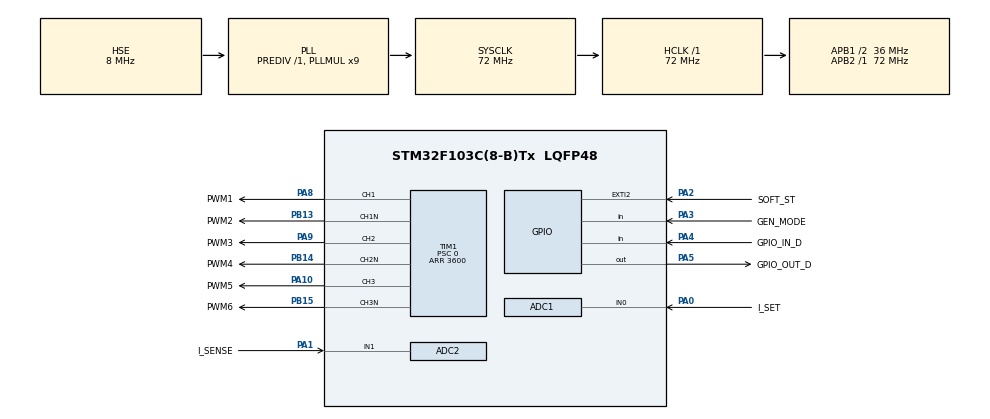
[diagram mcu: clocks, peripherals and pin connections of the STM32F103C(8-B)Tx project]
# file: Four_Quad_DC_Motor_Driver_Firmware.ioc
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ADC1.Channel-1\#ChannelRegularConversion=ADC_CHANNEL_0
ADC1.ContinuousConvMode=DISABLE
ADC1.EnableRegularConversion=ENABLE
ADC1.NbrOfConversionFlag=1
ADC1.Rank-1\#ChannelRegularConversion=1
ADC1.SamplingTime-1\#ChannelRegularConversion=ADC_SAMPLETIME_239CYCLES_5
ADC1.master=1
ADC2.Channel-5\#ChannelRegularConversion=ADC_CHANNEL_1
ADC2.NbrOfConversionFlag=1
ADC2.Rank-5\#ChannelRegularConversion=1
ADC2.SamplingTime-5\#ChannelRegularConversion=ADC_SAMPLETIME_1CYCLE_5
Dma.ADC1.0.Direction=DMA_PERIPH_TO_MEMORY
Dma.ADC1.0.Instance=DMA1_Channel1
Dma.ADC1.0.MemDataAlignment=DMA_MDATAALIGN_HALFWORD
Dma.ADC1.0.MemInc=DMA_MINC_ENABLE
Dma.ADC1.0.Mode=DMA_CIRCULAR
Dma.ADC1.0.PeriphDataAlignment=DMA_PDATAALIGN_HALFWORD
Dma.ADC1.0.PeriphInc=DMA_PINC_DISABLE
Dma.ADC1.0.Priority=DMA_PRIORITY_LOW
Dma.Request0=ADC1
Mcu.Family=STM32F1
Mcu.Name=STM32F103C(8-B)Tx
Mcu.Package=LQFP48
NVIC.ADC1_2_IRQn=true\:0\:0\:false\:false\:true\:true\:true\:true
NVIC.DMA1_Channel1_IRQn=true\:0\:0\:false\:false\:true\:false\:true\:true
NVIC.EXTI2_IRQn=true\:0\:0\:false\:false\:true\:true\:true\:true
NVIC.PriorityGroup=NVIC_PRIORITYGROUP_4
NVIC.TIM4_IRQn=true\:0\:0\:false\:false\:true\:true\:true\:true
PA0-WKUP.GPIO_Label=I_SET
PA0-WKUP.Signal=ADCx_IN0
PA1.GPIO_Label=I_SENSE
PA1.Signal=ADCx_IN1
PA10.GPIO_Label=PWM5
PA10.Signal=S_TIM1_CH3
PA13.Mode=Serial_Wire
PA13.Signal=SYS_JTMS-SWDIO
PA14.Mode=Serial_Wire
PA14.Signal=SYS_JTCK-SWCLK
PA2.GPIO_Label=SOFT_ST
PA2.GPIO_ModeDefaultEXTI=GPIO_MODE_IT_RISING
PA2.GPIO_PuPd=GPIO_PULLDOWN
PA2.Signal=GPXTI2
PA3.GPIO_Label=GEN_MODE
PA3.GPIO_PuPd=GPIO_PULLDOWN
PA3.Signal=GPIO_Input
PA4.GPIO_Label=GPIO_IN_D
PA4.GPIO_PuPd=GPIO_PULLDOWN
PA4.Signal=GPIO_Input
PA5.GPIO_Label=GPIO_OUT_D
PA5.Signal=GPIO_Output
PA8.GPIO_Label=PWM1
PA8.Signal=S_TIM1_CH1
PA9.GPIO_Label=PWM3
PA9.Signal=S_TIM1_CH2
PB13.GPIO_Label=PWM2
PB13.Mode=PWM Generation1 CH1 CH1N
PB13.Signal=TIM1_CH1N
PB14.GPIO_Label=PWM4
PB14.Mode=PWM Generation2 CH2 CH2N
PB14.Signal=TIM1_CH2N
PB15.GPIO_Label=PWM6
PB15.Mode=PWM Generation3 CH3 CH3N
PB15.Signal=TIM1_CH3N
PD0-OSC_IN.Mode=HSE-External-Oscillator
PD0-OSC_IN.Signal=RCC_OSC_IN
PD1-OSC_OUT.Mode=HSE-External-Oscillator
PD1-OSC_OUT.Signal=RCC_OSC_OUT
ProjectManager.HeapSize=0x200
ProjectManager.StackSize=0x400
ProjectManager.TargetToolchain=STM32CubeIDE
RCC.ADCPresc=RCC_ADCPCLK2_DIV6
RCC.AHBFreq_Value=72000000
RCC.APB1CLKDivider=RCC_HCLK_DIV2
RCC.APB1Freq_Value=36000000
RCC.APB1TimFreq_Value=72000000
RCC.APB2Freq_Value=72000000
RCC.APB2TimFreq_Value=72000000
RCC.EnbaleCSS=true
RCC.HCLKFreq_Value=72000000
RCC.PLLMUL=RCC_PLL_MUL9
RCC.PLLSourceVirtual=RCC_PLLSOURCE_HSE
RCC.SYSCLKFreq_VALUE=72000000
RCC.SYSCLKSource=RCC_SYSCLKSOURCE_PLLCLK
RCC.USBFreq_Value=72000000
SH.ADCx_IN0.0=ADC1_IN0,IN0
SH.ADCx_IN1.0=ADC2_IN1,IN1
SH.S_TIM1_CH1.0=TIM1_CH1,PWM Generation1 CH1 CH1N
SH.S_TIM1_CH2.0=TIM1_CH2,PWM Generation2 CH2 CH2N
SH.S_TIM1_CH3.0=TIM1_CH3,PWM Generation3 CH3 CH3N
TIM1.AutoReloadPreload=TIM_AUTORELOAD_PRELOAD_ENABLE
TIM1.Channel-PWM\ Generation1\ CH1\ CH1N=TIM_CHANNEL_1
TIM1.Channel-PWM\ Generation2\ CH2\ CH2N=TIM_CHANNEL_2
TIM1.Channel-PWM\ Generation3\ CH3\ CH3N=TIM_CHANNEL_3
TIM1.CounterMode=TIM_COUNTERMODE_CENTERALIGNED1
TIM1.DeadTime=100
TIM1.Period=3600
TIM1.Prescaler=0
TIM1.Pulse-PWM\ Generation1\ CH1\ CH1N=0
TIM1.Pulse-PWM\ Generation2\ CH2\ CH2N=0
TIM4.Period=1000
VP_TIM1_VS_ClockSourceINT.Mode=Internal
VP_TIM4_VS_ClockSourceINT.Mode=Internal
board=custom

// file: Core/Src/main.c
/* USER CODE BEGIN Header */
/**
  ******************************************************************************
  * @file           : main.c
  * @brief          : Main program body
  ******************************************************************************
  * @attention
  *
  * Copyright (c) 2022 STMicroelectronics.
  * All rights reserved.
  *
  * This software is licensed under terms that can be found in the LICENSE file
  * in the root directory of this software component.
  * If no LICENSE file comes with this software, it is provided AS-IS.
  *
  ******************************************************************************
  */
/* USER CODE END Header */
#include "main.h"

ADC_HandleTypeDef hadc1;
ADC_HandleTypeDef hadc2;
DMA_HandleTypeDef hdma_adc1;

TIM_HandleTypeDef htim1;
TIM_HandleTypeDef htim4;

/* USER CODE BEGIN PV */

// Define PID parameters
uint32_t Kp = 50;
uint32_t Kd = 0;
uint32_t Ki = 0;
float delta_t = 1/72000; // Control loop period, must be equal to TIM4 interrupt frequency (72KHz)

// Define the variables to store input values
float I_sense = 0;	// Measured armature current
float I_set = 0;  // Set value for armature current
float I_set_av = 0; // Set value moving average
float I_set_temp = 0; // Defined for calculation purposes
uint32_t Gen_mode = 0; // Generator mode boolean (active low)
uint32_t Soft_st = 0;  // Latching soft start
uint32_t Soft_st_done = 0; // Enable if the motor is already started
uint32_t forward = 1;  // 1 for forward motoring, 0 for reverse motoring

// Define duty variable
uint32_t duty = 0; // will be written to TIM1->CCR1 & TIM1->CCR2

// Average Buffers
uint16_t adc_buf_set[ADC_AVE_SAMPLE];
uint16_t adc_buf_sense[ADC_AVE_SAMPLE];

/* USER CODE END PV */

void SystemClock_Config(void);
static void MX_GPIO_Init(void);
static void MX_DMA_Init(void);
static void MX_TIM1_Init(void);
static void MX_ADC1_Init(void);
static void MX_TIM4_Init(void);
static void MX_ADC2_Init(void);
/* USER CODE BEGIN PFP */
uint16_t ADC1_Read();
uint16_t ADC2_Read();
/* USER CODE END PFP */

int main(void)
{

  /* MCU Configuration--------------------------------------------------------*/

  /* Reset of all peripherals, Initializes the Flash interface and the Systick. */
  HAL_Init();

  /* Configure the system clock */
  SystemClock_Config();

  /* Initialize all configured peripherals */
  MX_GPIO_Init();
  MX_DMA_Init();
  MX_TIM1_Init();
  MX_ADC1_Init();
  MX_TIM4_Init();
  MX_ADC2_Init();
  /* USER CODE BEGIN 2 */
  HAL_TIM_Base_Start_IT(&htim4);

  for(int j=0;j<ADC_AVE_SAMPLE;j++){
  	adc_buf_set[j] = 2048;
  	adc_buf_sense[j] =2048;
  }

  HAL_Delay(1000); // Wait a second

  // HAL_TIM_Base_Start_IT(&htim1);
  HAL_TIM_PWM_Start(&htim1, TIM_CHANNEL_1);
  HAL_TIMEx_PWMN_Start(&htim1, TIM_CHANNEL_1);
  HAL_TIM_PWM_Start(&htim1, TIM_CHANNEL_2);
  HAL_TIMEx_PWMN_Start(&htim1, TIM_CHANNEL_2);
  HAL_TIM_PWM_Start(&htim1, TIM_CHANNEL_3);
  HAL_TIMEx_PWMN_Start(&htim1, TIM_CHANNEL_3);

  /* USER CODE END 2 */

  /* Infinite loop */
  while (1)
  {

  }
}

void SystemClock_Config(void)
{
  RCC_OscInitTypeDef RCC_OscInitStruct = {0};
  RCC_ClkInitTypeDef RCC_ClkInitStruct = {0};
  RCC_PeriphCLKInitTypeDef PeriphClkInit = {0};

  /** Initializes the RCC Oscillators according to the specified parameters
  * in the RCC_OscInitTypeDef structure.
  */
  RCC_OscInitStruct.OscillatorType = RCC_OSCILLATORTYPE_HSE;
  RCC_OscInitStruct.HSEState = RCC_HSE_ON;
  RCC_OscInitStruct.HSEPredivValue = RCC_HSE_PREDIV_DIV1;
  RCC_OscInitStruct.HSIState = RCC_HSI_ON;
  RCC_OscInitStruct.PLL.PLLState = RCC_PLL_ON;
  RCC_OscInitStruct.PLL.PLLSource = RCC_PLLSOURCE_HSE;
  RCC_OscInitStruct.PLL.PLLMUL = RCC_PLL_MUL9;
  if (HAL_RCC_OscConfig(&RCC_OscInitStruct) != HAL_OK)
  {
    Error_Handler();
  }

  /** Initializes the CPU, AHB and APB buses clocks
  */
  RCC_ClkInitStruct.ClockType = RCC_CLOCKTYPE_HCLK|RCC_CLOCKTYPE_SYSCLK
                              |RCC_CLOCKTYPE_PCLK1|RCC_CLOCKTYPE_PCLK2;
  RCC_ClkInitStruct.SYSCLKSource = RCC_SYSCLKSOURCE_PLLCLK;
  RCC_ClkInitStruct.AHBCLKDivider = RCC_SYSCLK_DIV1;
  RCC_ClkInitStruct.APB1CLKDivider = RCC_HCLK_DIV2;
  RCC_ClkInitStruct.APB2CLKDivider = RCC_HCLK_DIV1;

  if (HAL_RCC_ClockConfig(&RCC_ClkInitStruct, FLASH_LATENCY_2) != HAL_OK)
  {
    Error_Handler();
  }
  PeriphClkInit.PeriphClockSelection = RCC_PERIPHCLK_ADC;
  PeriphClkInit.AdcClockSelection = RCC_ADCPCLK2_DIV6;
  if (HAL_RCCEx_PeriphCLKConfig(&PeriphClkInit) != HAL_OK)
  {
    Error_Handler();
  }

  /** Enables the Clock Security System
  */
  HAL_RCC_EnableCSS();
}

static void MX_ADC1_Init(void)
{

  ADC_ChannelConfTypeDef sConfig = {0};

  /** Common config
  */
  hadc1.Instance = ADC1;
  hadc1.Init.ScanConvMode = ADC_SCAN_DISABLE;
  hadc1.Init.ContinuousConvMode = DISABLE;
  hadc1.Init.DiscontinuousConvMode = DISABLE;
  hadc1.Init.ExternalTrigConv = ADC_SOFTWARE_START;
  hadc1.Init.DataAlign = ADC_DATAALIGN_RIGHT;
  hadc1.Init.NbrOfConversion = 1;
  if (HAL_ADC_Init(&hadc1) != HAL_OK)
  {
    Error_Handler();
  }

  /** Configure Regular Channel
  */
  sConfig.Channel = ADC_CHANNEL_0;
  sConfig.Rank = ADC_REGULAR_RANK_1;
  sConfig.SamplingTime = ADC_SAMPLETIME_239CYCLES_5;
  if (HAL_ADC_ConfigChannel(&hadc1, &sConfig) != HAL_OK)
  {
    Error_Handler();
  }

}

static void MX_ADC2_Init(void)
{

  ADC_ChannelConfTypeDef sConfig = {0};

  /** Common config
  */
  hadc2.Instance = ADC2;
  hadc2.Init.ScanConvMode = ADC_SCAN_DISABLE;
  hadc2.Init.ContinuousConvMode = DISABLE;
  hadc2.Init.DiscontinuousConvMode = DISABLE;
  hadc2.Init.ExternalTrigConv = ADC_SOFTWARE_START;
  hadc2.Init.DataAlign = ADC_DATAALIGN_RIGHT;
  hadc2.Init.NbrOfConversion = 1;
  if (HAL_ADC_Init(&hadc2) != HAL_OK)
  {
    Error_Handler();
  }

  /** Configure Regular Channel
  */
  sConfig.Channel = ADC_CHANNEL_1;
  sConfig.Rank = ADC_REGULAR_RANK_1;
  sConfig.SamplingTime = ADC_SAMPLETIME_1CYCLE_5;
  if (HAL_ADC_ConfigChannel(&hadc2, &sConfig) != HAL_OK)
  {
    Error_Handler();
  }

}

static void MX_TIM1_Init(void)
{

  TIM_ClockConfigTypeDef sClockSourceConfig = {0};
  TIM_MasterConfigTypeDef sMasterConfig = {0};
  TIM_OC_InitTypeDef sConfigOC = {0};
  TIM_BreakDeadTimeConfigTypeDef sBreakDeadTimeConfig = {0};

  htim1.Instance = TIM1;
  htim1.Init.Prescaler = 0;
  htim1.Init.CounterMode = TIM_COUNTERMODE_CENTERALIGNED1;
  htim1.Init.Period = 3600;
  htim1.Init.ClockDivision = TIM_CLOCKDIVISION_DIV1;
  htim1.Init.RepetitionCounter = 0;
  htim1.Init.AutoReloadPreload = TIM_AUTORELOAD_PRELOAD_ENABLE;
  if (HAL_TIM_Base_Init(&htim1) != HAL_OK)
  {
    Error_Handler();
  }
  sClockSourceConfig.ClockSource = TIM_CLOCKSOURCE_INTERNAL;
  if (HAL_TIM_ConfigClockSource(&htim1, &sClockSourceConfig) != HAL_OK)
  {
    Error_Handler();
  }
  if (HAL_TIM_PWM_Init(&htim1) != HAL_OK)
  {
    Error_Handler();
  }
  sMasterConfig.MasterOutputTrigger = TIM_TRGO_RESET;
  sMasterConfig.MasterSlaveMode = TIM_MASTERSLAVEMODE_DISABLE;
  if (HAL_TIMEx_MasterConfigSynchronization(&htim1, &sMasterConfig) != HAL_OK)
  {
    Error_Handler();
  }
  sConfigOC.OCMode = TIM_OCMODE_PWM1;
  sConfigOC.Pulse = 0;
  sConfigOC.OCPolarity = TIM_OCPOLARITY_HIGH;
  sConfigOC.OCNPolarity = TIM_OCNPOLARITY_HIGH;
  sConfigOC.OCFastMode = TIM_OCFAST_DISABLE;
  sConfigOC.OCIdleState = TIM_OCIDLESTATE_RESET;
  sConfigOC.OCNIdleState = TIM_OCNIDLESTATE_RESET;
  if (HAL_TIM_PWM_ConfigChannel(&htim1, &sConfigOC, TIM_CHANNEL_1) != HAL_OK)
  {
    Error_Handler();
  }
  if (HAL_TIM_PWM_ConfigChannel(&htim1, &sConfigOC, TIM_CHANNEL_2) != HAL_OK)
  {
    Error_Handler();
  }
  if (HAL_TIM_PWM_ConfigChannel(&htim1, &sConfigOC, TIM_CHANNEL_3) != HAL_OK)
  {
    Error_Handler();
  }
  sBreakDeadTimeConfig.OffStateRunMode = TIM_OSSR_DISABLE;
  sBreakDeadTimeConfig.OffStateIDLEMode = TIM_OSSI_DISABLE;
  sBreakDeadTimeConfig.LockLevel = TIM_LOCKLEVEL_OFF;
  sBreakDeadTimeConfig.DeadTime = 100;
  sBreakDeadTimeConfig.BreakState = TIM_BREAK_DISABLE;
  sBreakDeadTimeConfig.BreakPolarity = TIM_BREAKPOLARITY_HIGH;
  sBreakDeadTimeConfig.AutomaticOutput = TIM_AUTOMATICOUTPUT_DISABLE;
  if (HAL_TIMEx_ConfigBreakDeadTime(&htim1, &sBreakDeadTimeConfig) != HAL_OK)
  {
    Error_Handler();
  }
  HAL_TIM_MspPostInit(&htim1);

}

static void MX_TIM4_Init(void)
{

  TIM_ClockConfigTypeDef sClockSourceConfig = {0};
  TIM_MasterConfigTypeDef sMasterConfig = {0};

  htim4.Instance = TIM4;
  htim4.Init.Prescaler = 0;
  htim4.Init.CounterMode = TIM_COUNTERMODE_UP;
  htim4.Init.Period = 1000;
  htim4.Init.ClockDivision = TIM_CLOCKDIVISION_DIV1;
  htim4.Init.AutoReloadPreload = TIM_AUTORELOAD_PRELOAD_DISABLE;
  if (HAL_TIM_Base_Init(&htim4) != HAL_OK)
  {
    Error_Handler();
  }
  sClockSourceConfig.ClockSource = TIM_CLOCKSOURCE_INTERNAL;
  if (HAL_TIM_ConfigClockSource(&htim4, &sClockSourceConfig) != HAL_OK)
  {
    Error_Handler();
  }
  sMasterConfig.MasterOutputTrigger = TIM_TRGO_RESET;
  sMasterConfig.MasterSlaveMode = TIM_MASTERSLAVEMODE_DISABLE;
  if (HAL_TIMEx_MasterConfigSynchronization(&htim4, &sMasterConfig) != HAL_OK)
  {
    Error_Handler();
  }

}

static void MX_DMA_Init(void)
{

  /* DMA controller clock enable */
  __HAL_RCC_DMA1_CLK_ENABLE();

  /* DMA interrupt init */
  /* DMA1_Channel1_IRQn interrupt configuration */
  HAL_NVIC_SetPriority(DMA1_Channel1_IRQn, 0, 0);
  HAL_NVIC_EnableIRQ(DMA1_Channel1_IRQn);

}

static void MX_GPIO_Init(void)
{
  GPIO_InitTypeDef GPIO_InitStruct = {0};

  /* GPIO Ports Clock Enable */
  __HAL_RCC_GPIOD_CLK_ENABLE();
  __HAL_RCC_GPIOA_CLK_ENABLE();
  __HAL_RCC_GPIOB_CLK_ENABLE();

  /*Configure GPIO pin Output Level */
  HAL_GPIO_WritePin(GPIO_OUT_D_GPIO_Port, GPIO_OUT_D_Pin, GPIO_PIN_RESET);

  /*Configure GPIO pin : SOFT_ST_Pin */
  GPIO_InitStruct.Pin = SOFT_ST_Pin;
  GPIO_InitStruct.Mode = GPIO_MODE_IT_RISING;
  GPIO_InitStruct.Pull = GPIO_PULLDOWN;
  HAL_GPIO_Init(SOFT_ST_GPIO_Port, &GPIO_InitStruct);

  /*Configure GPIO pins : GEN_MODE_Pin GPIO_IN_D_Pin */
  GPIO_InitStruct.Pin = GEN_MODE_Pin|GPIO_IN_D_Pin;
  GPIO_InitStruct.Mode = GPIO_MODE_INPUT;
  GPIO_InitStruct.Pull = GPIO_PULLDOWN;
  HAL_GPIO_Init(GPIOA, &GPIO_InitStruct);

  /*Configure GPIO pin : GPIO_OUT_D_Pin */
  GPIO_InitStruct.Pin = GPIO_OUT_D_Pin;
  GPIO_InitStruct.Mode = GPIO_MODE_OUTPUT_PP;
  GPIO_InitStruct.Pull = GPIO_NOPULL;
  GPIO_InitStruct.Speed = GPIO_SPEED_FREQ_LOW;
  HAL_GPIO_Init(GPIO_OUT_D_GPIO_Port, &GPIO_InitStruct);

  /* EXTI interrupt init*/
  HAL_NVIC_SetPriority(EXTI2_IRQn, 0, 0);
  HAL_NVIC_EnableIRQ(EXTI2_IRQn);

}

/* USER CODE BEGIN 4 */

uint16_t ADC1_Read()
{
	// Get ADC value
	HAL_ADC_Start(&hadc1);
	HAL_ADC_PollForConversion(&hadc1, HAL_MAX_DELAY);

	return HAL_ADC_GetValue(&hadc1);
}
uint16_t ADC2_Read()
{
	// Get ADC value
	HAL_ADC_Start(&hadc2);
	HAL_ADC_PollForConversion(&hadc2, HAL_MAX_DELAY);

	return HAL_ADC_GetValue(&hadc2);
}

/* USER CODE END 4 */

void Error_Handler(void)
{
  __disable_irq();
  while (1)
  {
  }
}
